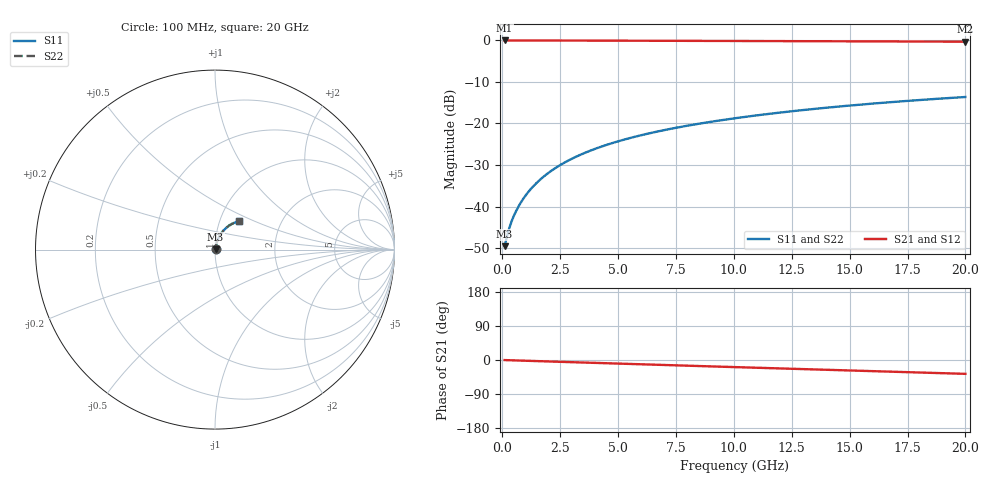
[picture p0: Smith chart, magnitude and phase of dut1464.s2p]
! Touchstone file exported from HFSS 2026.1.0
!  File:  C:/ffzhzh/LocalFiles/Ansys_Project_Files/temp_train_TMRDL_1464_1783167409_55132.aedt
!  Generated:  08:17:54 PM Jul  4, 2026
!  Design:  TMRDL
!  Project:  temp_train_TMRDL_1464_1783167409_55132
! Variables:
!  h_bsmrdl = 2um
!  h_ox = 20um
!  h_rdl = 5um
!  h_sub = 80um
!  h_tmrdl = 4.34um
!  h_tsv = 80um
!  h_via = 3um
!  l_bsmrdl = 300um
!  l_sub = 1012.05um
!  l_tmrdl = 612.05um
!  m_sub = 200um
!  pitch = 28.99um
!  r_tsv = 6um
!  s_tmrdl = 10um
!  w_bsmrdl = 18um
!  w_sub = 500um
!  w_tmrdl = 17.93um
!  x_tsv_center1 = 621.015um
!  x_tsv_center2 = 939.015um
!  x_tsv_center3 = 1568.995um
!  x_tsv_center4 = 1886.995um
!  x_tsv_center5 = 2516.975um
!  x_tsv_center6 = 2834.975um
# GHz S MA R 50.000000
! Terminal data exported
! Port[1] = TM_RDL1_1_T1
! Port[2] = TM_RDL1_1_T2
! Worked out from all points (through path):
!   200 points, 100 MHz to 20 GHz, reference 50 ohm
!   highest |S21| = -0.03 dB at 100 MHz (marker M1); lowest = -0.3 dB at 20 GHz (marker M2)
!   group delay of S21, straight-line fit = 5.06 ps
!   lowest |S11| = -49.5 dB at 100 MHz (marker M3), VSWR 1.01, Z = 50.3 + j0.155 ohm
!   |S11| at or under -10 dB: start of sweep to end of sweep
!   |S22| runs from -49.5 to -13.6 dB; largest |S21 - S12| = 3.1e-15
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0.1  0.00334 27.5  0.997 -0.2  0.997 -0.2  0.00334 27.5
! Gamma 0 0 0 0
! Port Impedance 50 0 50 0
0.2  0.004351 43.2  0.9968 -0.4  0.9968 -0.4  0.004351 43.2
0.3  0.005484 51.7  0.9966 -0.6  0.9966 -0.6  0.005483 51.6
0.4  0.00662 57.0  0.9965 -0.8  0.9965 -0.8  0.006618 56.9
0.5  0.00775 60.8  0.9963 -1.0  0.9963 -1.0  0.007748 60.8
0.6  0.008884 63.7  0.9962 -1.2  0.9962 -1.2  0.008881 63.7
0.8  0.01118 67.9  0.9961 -1.6  0.9961 -1.6  0.01118 67.9
1  0.01352 70.6  0.9959 -1.9  0.9959 -1.9  0.01352 70.6
1.2  0.0159 72.5  0.9958 -2.3  0.9958 -2.3  0.0159 72.5
1.4  0.0183 73.8  0.9957 -2.7  0.9957 -2.7  0.01829 73.9
1.7  0.02191 75.1  0.9954 -3.3  0.9954 -3.3  0.02191 75.1
2.2  0.02796 76.1  0.995 -4.2  0.995 -4.2  0.02796 76.1
2.8  0.03519 76.3  0.9943 -5.4  0.9943 -5.4  0.03519 76.3
3.5  0.04353 75.9  0.9934 -6.7  0.9934 -6.7  0.04353 75.9
4.2  0.05175 75.1  0.9925 -8.0  0.9925 -8.0  0.05175 75.1
5  0.06097 74.0  0.9913 -9.5  0.9913 -9.5  0.06097 74.0
6.8  0.08109 71.3  0.9884 -12.8  0.9884 -12.8  0.08109 71.3
8.3  0.09728 68.9  0.9859 -15.6  0.9859 -15.6  0.09728 68.9
10.1  0.1161 66.0  0.9828 -18.9  0.9828 -18.9  0.1161 66.0
13.4  0.149 60.6  0.9768 -24.8  0.9768 -24.8  0.149 60.6
16.7  0.1798 55.1  0.9704 -30.7  0.9704 -30.7  0.1798 55.2
20  0.2082 49.6  0.9638 -36.5  0.9638 -36.5  0.2082 49.7
